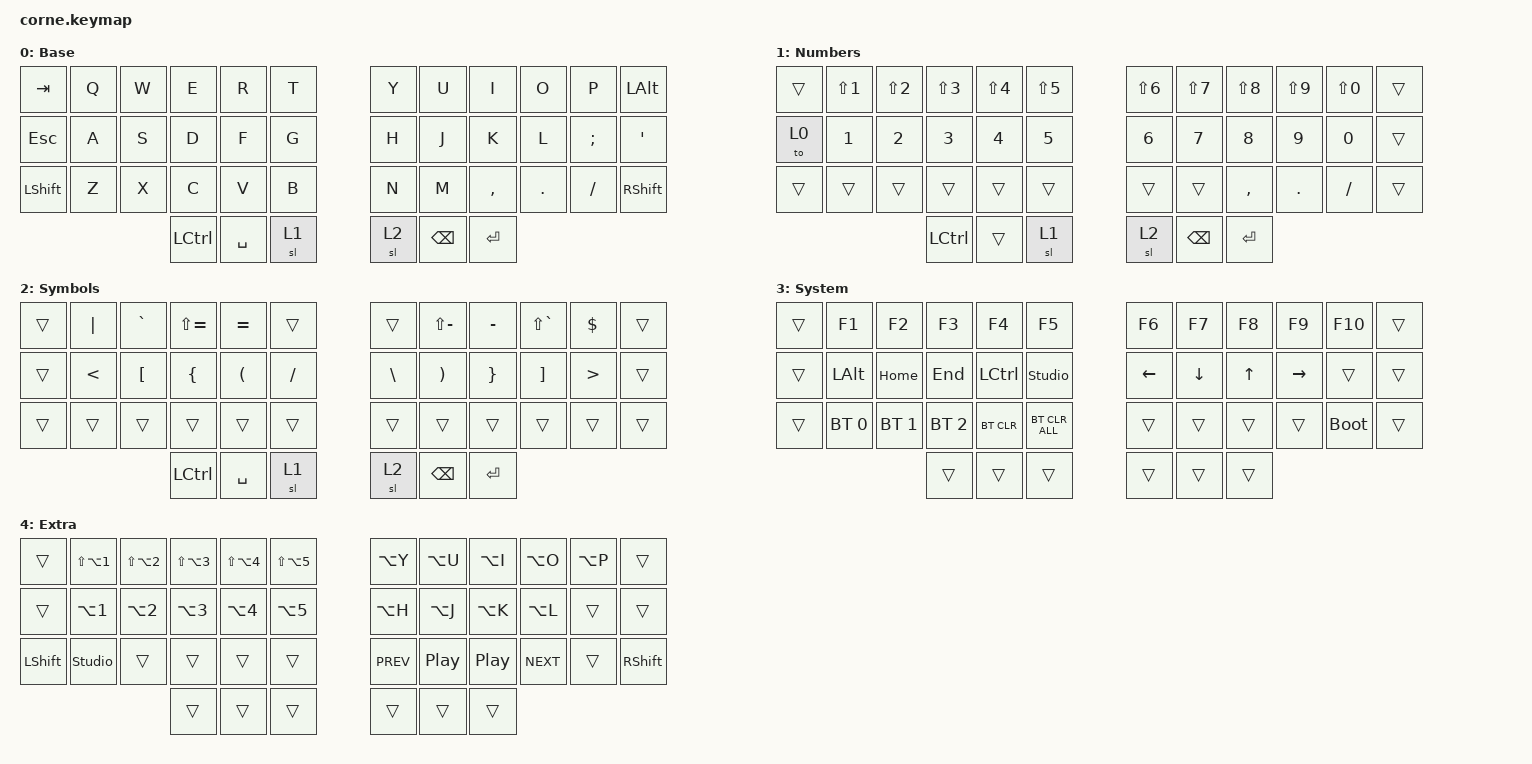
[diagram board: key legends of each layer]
#include <behaviors.dtsi>
#include <dt-bindings/zmk/bt.h>
#include <dt-bindings/zmk/keys.h>

#define DEF 0
#define NAV 1
#define SYM 2
#define ADJ 3
#define EXTRA 4

/ {
    behaviors {
        hm: homerow_mods {
            compatible = "zmk,behavior-hold-tap";
            label = "HOMEROW_MODS";
            #binding-cells = <2>;
            tapping-term-ms = <200>;
            quick_tap_ms = <0>;
            flavor = "tap-preferred";
            bindings = <&kp>, <&kp>;

            quick-tap-ms = <180>;
            global-quick-tap;
        };

        para: para {
            compatible = "zmk,behavior-tap-dance";
            label = "PARA";
            #binding-cells = <0>;
            bindings = <&kp LEFT_PARENTHESIS>, <&kp RIGHT_PARENTHESIS>;
        };

        caps: caps {
            compatible = "zmk,behavior-caps-word";
            label = "CAPS";
            #binding-cells = <0>;
            continue-list = <MINUS BACKSPACE>;
        };

        paraless: paraless {
            compatible = "zmk,behavior-mod-morph";
            label = "PARALESS";
            bindings = <&kp LEFT_PARENTHESIS>, <&kp LESS_THAN>;

            #binding-cells = <0>;
            mods = <(MOD_LSFT)>;
        };

        paragreat: paragreat {
            compatible = "zmk,behavior-mod-morph";
            label = "PARAGREAT";
            bindings = <&kp RIGHT_PARENTHESIS>, <&kp GREATER_THAN>;

            #binding-cells = <0>;
            mods = <(MOD_LSFT)>;
        };
    };

    macros {
        browsertab: browsertab {
            compatible = "zmk,behavior-macro";
            #binding-cells = <0>;
            bindings =
                <&macro_press>,
                <&kp LCTRL>,
                <&macro_tap>,
                <&kp TAB>,
                <&macro_release>,
                <&kp LCTRL>;
        };
    };

    combos {
        compatible = "zmk,combos";

        sys {
            bindings = <&sl 3>;
            key-positions = <37 40>;
        };

        caps {
            bindings = <&kp CAPS>;
            key-positions = <24 35>;
        };

        layer4 {
            bindings = <&sl 4>;
            key-positions = <37 41>;
        };
    };

    //

    keymap {
        compatible = "zmk,keymap";

        DEF {
            display-name = "Base";

            // -----------------------------------------------------------------------------------------
            // |  Q  |  W  |  E  |  R  |  T  |   |  Y  |  U   |  I  |  O  |  P  |
            // |  A  |  S  |  D  |  F  |  G  |   |  H  |  J   |  K  |  L  |  ;  |
            // |  Z  |  X  |  C  |  V  |  B  |   |  N  |  M   |  ,  |  .  |  /  |
            // | GUI | CTRL | SHFT | LWR | SPC |   | ENT | RSE  | BKSP | ALT | ESC |

            bindings = <
&kp TAB         &kp Q  &kp W  &kp E             &kp R      &kp T    &kp Y  &kp U          &kp I      &kp O    &kp P     &kp LEFT_ALT
&kp ESCAPE      &kp A  &kp S  &kp D             &kp F      &kp G    &kp H  &kp J          &kp K      &kp L    &kp SEMI  &kp SQT
&kp LEFT_SHIFT  &kp Z  &kp X  &kp C             &kp V      &kp B    &kp N  &kp M          &kp COMMA  &kp DOT  &kp FSLH  &kp RSHFT
                              &kp LEFT_CONTROL  &kp SPACE  &sl 1    &sl 2  &kp BACKSPACE  &kp ENTER
            >;
        };

        Numbers {
            display-name = "Numbers";

            // -----------------------------------------------------------------------------------------
            // |  TAB |  1  |  2  |  3  |  4  |  5  |   |  6  |  7  |  8  |  9  |  0  | BKSP |
            // | BTCLR| BT1 | BT2 | BT3 | BT4 | BT5 |   | LFT | DWN |  UP | RGT |     |      |
            // | SHFT |     |     |     |     |     |   |     |     |     |     |     |      |
            // | GUI | CTRL | SHFT | LWR | SPC |   | ENT | RSE  | BKSP | ALT | ESC |

            bindings = <
&trans  &kp LS(N1)    &kp LS(N2)    &kp LS(N3)        &kp LS(N4)    &kp LS(N5)    &kp LS(N6)    &kp LS(N7)     &kp LS(N8)  &kp LS(N9)  &kp LS(N0)  &trans
&to 0   &kp NUMBER_1  &kp NUMBER_2  &kp NUMBER_3      &kp NUMBER_4  &kp N5        &kp NUMBER_6  &kp N7         &kp N8      &kp N9      &kp N0      &trans
&trans  &trans        &trans        &trans            &trans        &trans        &trans        &trans         &kp COMMA   &kp PERIOD  &kp SLASH   &trans
                                    &kp LEFT_CONTROL  &trans        &sl 1         &sl 2         &kp BACKSPACE  &kp ENTER
            >;
        };

        Symbols {
            display-name = "Symbols";

            // -----------------------------------------------------------------------------------------
            // |  TAB |  !  |  @  |  #  |  $  |  %  |   |  ^  |  &  |  *  |  (  |  )  | BKSP |
            // | CTRL |     |     |     |     |     |   |  -  |  =  |  [  |  ]  |  \  |  `   |
            // | SHFT |     |     |     |     |     |   |  _  |  +  |  {  |  }  | "|" |  ~   |
            //                    | GUI |     | SPC |   | ENT |     | ALT |

            bindings = <
&trans  &kp PIPE       &kp GRAVE         &kp LS(EQUAL)     &kp EQUAL             &trans       &trans         &kp LS(MINUS)          &kp MINUS        &kp LS(GRAVE)  &kp DOLLAR        &trans
&trans  &kp LESS_THAN  &kp LEFT_BRACKET  &kp LEFT_BRACE    &kp LEFT_PARENTHESIS  &kp SLASH    &kp BACKSLASH  &kp RIGHT_PARENTHESIS  &kp RIGHT_BRACE  &kp RBKT       &kp GREATER_THAN  &trans
&trans  &trans         &trans            &trans            &trans                &trans       &trans         &trans                 &trans           &trans         &trans            &trans
                                         &kp LEFT_CONTROL  &kp SPACE             &sl 1        &sl 2          &kp BACKSPACE          &kp ENTER
            >;
        };

        Motion {
            display-name = "System";
            bindings = <
&trans  &kp F1        &kp F2        &kp F3        &kp F4            &kp F5            &kp F6    &kp F7    &kp F8  &kp F9     &kp F10      &trans
&trans  &kp LEFT_ALT  &kp HOME      &kp END       &kp LEFT_CONTROL  &studio_unlock    &kp LEFT  &kp DOWN  &kp UP  &kp RIGHT  &trans       &trans
&trans  &bt BT_SEL 0  &bt BT_SEL 1  &bt BT_SEL 2  &bt BT_CLR        &bt BT_CLR_ALL    &trans    &trans    &trans  &trans     &bootloader  &trans
                                    &trans        &trans            &trans            &trans    &trans    &trans
            >;
        };

        Media {
            display-name = "Extra";
            bindings = <
&trans          &kp LS(LA(NUMBER_1))  &kp LS(LA(NUMBER_2))  &kp LS(LA(NUMBER_3))  &kp LS(LA(NUMBER_4))  &kp LS(LA(N5))    &kp LA(Y)   &kp LA(U)  &kp LA(I)  &kp LA(O)   &kp LA(P)  &trans
&trans          &kp LA(NUMBER_1)      &kp LA(NUMBER_2)      &kp LA(NUMBER_3)      &kp LA(NUMBER_4)      &kp LA(N5)        &kp LA(H)   &kp LA(J)  &kp LA(K)  &kp LA(L)   &trans     &trans
&kp LEFT_SHIFT  &studio_unlock        &trans                &trans                &trans                &trans            &kp C_PREV  &kp C_PP   &kp C_PP   &kp C_NEXT  &trans     &kp RIGHT_SHIFT
                                                            &trans                &trans                &trans            &trans      &trans     &trans
            >;
        };
    };

    conditional_layers { compatible = "zmk,conditional-layers"; };
};
